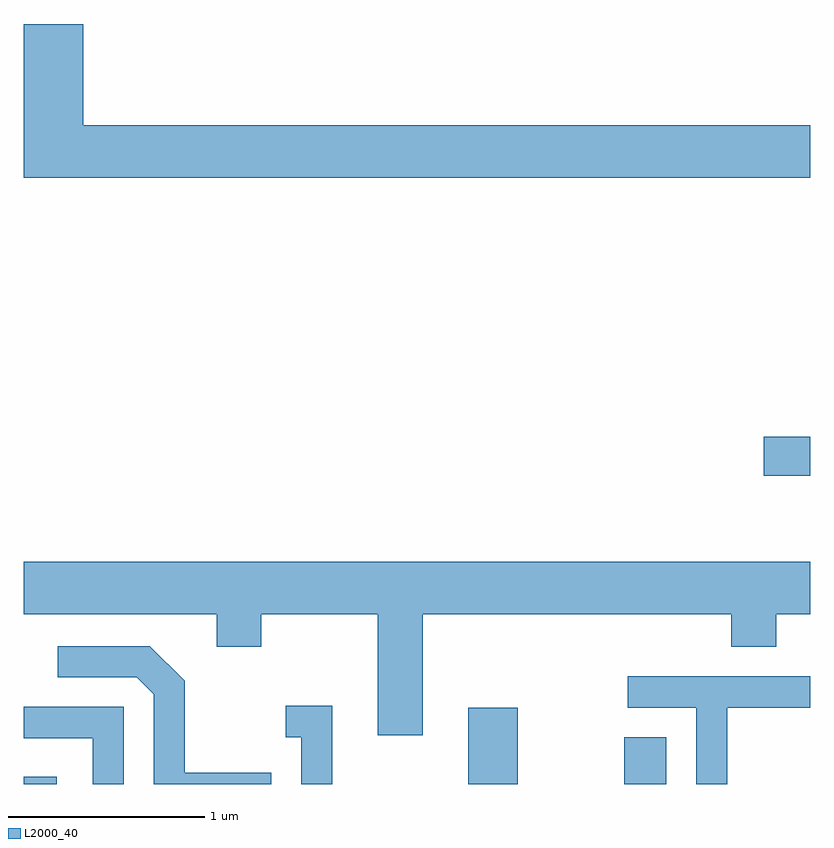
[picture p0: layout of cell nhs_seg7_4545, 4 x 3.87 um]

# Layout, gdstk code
import gdstk
lib = gdstk.Library(unit=1e-6, precision=1e-09)
def R(c, l, rs):  # rectangles x0, y0, x1, y1
    for r in rs: c.add(gdstk.rectangle(r[:2], r[2:], *l))
def P(c, l, *ps):  # polygons
    for p in ps: c.add(gdstk.Polygon(p, *l))
L2000_40 = (2000, 40)

nhs_seg7_4545 = lib.new_cell('nhs_seg7_4545')
R(nhs_seg7_4545, L2000_40, [(323.611,1802.252,323.779,1802.289), (325.871,1802.252,326.124,1802.639), (326.666,1802.252,326.879,1802.489), (327.376,1803.821,327.611,1804.019)])
P(nhs_seg7_4545, L2000_40, [(327.611,1805.604),(323.914,1805.604),(323.914,1806.119),(323.611,1806.119),(323.611,1805.336),(327.611,1805.336)],
  [(325.639,1803.116),(327.211,1803.116),(327.211,1802.951),(327.439,1802.951),(327.439,1803.116),(327.611,1803.116),(327.611,1803.384),(323.611,1803.384),(323.611,1803.116),(324.591,1803.116),(324.591,1802.951),(324.819,1802.951),(324.819,1803.116),(325.411,1803.116),(325.411,1802.501),(325.639,1802.501)],
  [(324.869,1802.309),(324.429,1802.309),(324.429,1802.777),(324.252,1802.954),(323.783,1802.954),(323.783,1802.796),(324.184,1802.796),(324.271,1802.709),(324.271,1802.252),(324.869,1802.252)],
  [(327.189,1802.641),(327.611,1802.641),(327.611,1802.799),(326.683,1802.799),(326.683,1802.641),(327.031,1802.641),(327.031,1802.252),(327.189,1802.252)],
  [(325.179,1802.649),(324.943,1802.649),(324.943,1802.491),(325.021,1802.491),(325.021,1802.252),(325.179,1802.252)],
  [(324.119,1802.644),(323.611,1802.644),(323.611,1802.486),(323.961,1802.486),(323.961,1802.252),(324.119,1802.252)])

lib.write_gds('nhs_seg7_4545.gds')
